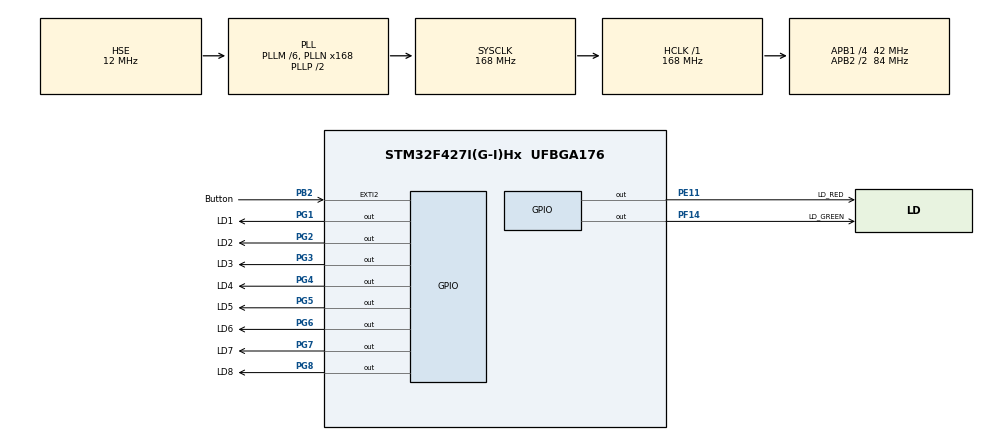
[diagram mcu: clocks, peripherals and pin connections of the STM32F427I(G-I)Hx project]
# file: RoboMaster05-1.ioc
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Mcu.Family=STM32F4
Mcu.Name=STM32F427I(G-I)Hx
Mcu.Package=UFBGA176
NVIC.EXTI2_IRQn=true\:1\:0\:true\:false\:true\:true\:true
NVIC.PriorityGroup=NVIC_PRIORITYGROUP_4
PB2/BOOT1.GPIO_Label=Button
PB2/BOOT1.Signal=GPXTI2
PE11.GPIO_Label=LD_RED
PE11.Signal=GPIO_Output
PF14.GPIO_Label=LD_GREEN
PF14.Signal=GPIO_Output
PG1.GPIO_Label=LD1
PG1.Signal=GPIO_Output
PG2.GPIO_Label=LD2
PG2.Signal=GPIO_Output
PG3.GPIO_Label=LD3
PG3.Signal=GPIO_Output
PG4.GPIO_Label=LD4
PG4.Signal=GPIO_Output
PG5.GPIO_Label=LD5
PG5.Signal=GPIO_Output
PG6.GPIO_Label=LD6
PG6.Signal=GPIO_Output
PG7.GPIO_Label=LD7
PG7.Signal=GPIO_Output
PG8.GPIO_Label=LD8
PG8.Signal=GPIO_Output
PH0/OSC_IN.Mode=HSE-External-Oscillator
PH0/OSC_IN.Signal=RCC_OSC_IN
PH1/OSC_OUT.Mode=HSE-External-Oscillator
PH1/OSC_OUT.Signal=RCC_OSC_OUT
ProjectManager.HeapSize=0x200
ProjectManager.StackSize=0x400
ProjectManager.TargetToolchain=SW4STM32
RCC.48MHZClocksFreq_Value=84000000
RCC.AHBFreq_Value=168000000
RCC.APB1CLKDivider=RCC_HCLK_DIV4
RCC.APB1Freq_Value=42000000
RCC.APB1TimFreq_Value=84000000
RCC.APB2CLKDivider=RCC_HCLK_DIV2
RCC.APB2Freq_Value=84000000
RCC.APB2TimFreq_Value=168000000
RCC.CortexFreq_Value=168000000
RCC.HCLKFreq_Value=168000000
RCC.HSE_VALUE=12000000
RCC.HSI_VALUE=16000000
RCC.LSE_VALUE=32768
RCC.PLLM=6
RCC.PLLN=168
RCC.PLLSourceVirtual=RCC_PLLSOURCE_HSE
RCC.SYSCLKFreq_VALUE=168000000
RCC.SYSCLKSource=RCC_SYSCLKSOURCE_PLLCLK
RCC.VCOOutputFreq_Value=336000000
TIM6.Period=999
TIM6.Prescaler=41999
VP_TIM6_VS_ClockSourceINT.Mode=Enable_Timer
board=custom

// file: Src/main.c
/* USER CODE BEGIN Header */
/**
  ******************************************************************************
  * @file           : main.c
  * @brief          : Main program body
  ******************************************************************************
  * @attention
  *
  * <h2><center>&copy; Copyright (c) 2020 STMicroelectronics.
  * All rights reserved.</center></h2>
  *
  * This software component is licensed by ST under BSD 3-Clause license,
  * the "License"; You may not use this file except in compliance with the
  * License. You may obtain a copy of the License at:
  *                        opensource.org/licenses/BSD-3-Clause
  *
  ******************************************************************************
  */
/* USER CODE END Header */

#include "main.h"

/* USER CODE BEGIN Includes */
#include "stdbool.h"
/* USER CODE END Includes */

TIM_HandleTypeDef htim6;

void SystemClock_Config(void);
static void MX_GPIO_Init(void);
static void MX_TIM6_Init(void);

/* USER CODE BEGIN 0 */
bool flag=false;
/* USER CODE END 0 */

int main(void)
{

  /* MCU Configuration--------------------------------------------------------*/

  /* Reset of all peripherals, Initializes the Flash interface and the Systick. */
  HAL_Init();

  /* Configure the system clock */
  SystemClock_Config();

  /* Initialize all configured peripherals */
  MX_GPIO_Init();
  MX_TIM6_Init();
  /* USER CODE BEGIN 2 */
  HAL_GPIO_WritePin(LD_RED_GPIO_Port,LD_RED_Pin,RESET);
  HAL_GPIO_WritePin(LD_GREEN_GPIO_Port,LD_GREEN_Pin,SET);
  HAL_GPIO_WritePin(LD1_GPIO_Port,LD1_Pin,RESET);
  HAL_GPIO_WritePin(LD2_GPIO_Port,LD2_Pin,SET);
  HAL_GPIO_WritePin(LD3_GPIO_Port,LD3_Pin,RESET);
  HAL_GPIO_WritePin(LD4_GPIO_Port,LD4_Pin,SET);
  HAL_GPIO_WritePin(LD5_GPIO_Port,LD5_Pin,RESET);
  HAL_GPIO_WritePin(LD6_GPIO_Port,LD6_Pin,SET);
  HAL_GPIO_WritePin(LD7_GPIO_Port,LD7_Pin,RESET);
  HAL_GPIO_WritePin(LD8_GPIO_Port,LD8_Pin,SET);
  /* USER CODE END 2 */

  /* Infinite loop */
  while (1)
  {

  }
}

void SystemClock_Config(void)
{
  RCC_OscInitTypeDef RCC_OscInitStruct = {0};
  RCC_ClkInitTypeDef RCC_ClkInitStruct = {0};

  /** Configure the main internal regulator output voltage
  */
  __HAL_RCC_PWR_CLK_ENABLE();
  __HAL_PWR_VOLTAGESCALING_CONFIG(PWR_REGULATOR_VOLTAGE_SCALE1);
  /** Initializes the CPU, AHB and APB busses clocks
  */
  RCC_OscInitStruct.OscillatorType = RCC_OSCILLATORTYPE_HSE;
  RCC_OscInitStruct.HSEState = RCC_HSE_ON;
  RCC_OscInitStruct.PLL.PLLState = RCC_PLL_ON;
  RCC_OscInitStruct.PLL.PLLSource = RCC_PLLSOURCE_HSE;
  RCC_OscInitStruct.PLL.PLLM = 6;
  RCC_OscInitStruct.PLL.PLLN = 168;
  RCC_OscInitStruct.PLL.PLLP = RCC_PLLP_DIV2;
  RCC_OscInitStruct.PLL.PLLQ = 4;
  if (HAL_RCC_OscConfig(&RCC_OscInitStruct) != HAL_OK)
  {
    Error_Handler();
  }
  /** Initializes the CPU, AHB and APB busses clocks
  */
  RCC_ClkInitStruct.ClockType = RCC_CLOCKTYPE_HCLK|RCC_CLOCKTYPE_SYSCLK
                              |RCC_CLOCKTYPE_PCLK1|RCC_CLOCKTYPE_PCLK2;
  RCC_ClkInitStruct.SYSCLKSource = RCC_SYSCLKSOURCE_PLLCLK;
  RCC_ClkInitStruct.AHBCLKDivider = RCC_SYSCLK_DIV1;
  RCC_ClkInitStruct.APB1CLKDivider = RCC_HCLK_DIV4;
  RCC_ClkInitStruct.APB2CLKDivider = RCC_HCLK_DIV2;

  if (HAL_RCC_ClockConfig(&RCC_ClkInitStruct, FLASH_LATENCY_5) != HAL_OK)
  {
    Error_Handler();
  }
}

static void MX_TIM6_Init(void)
{

  TIM_MasterConfigTypeDef sMasterConfig = {0};

  htim6.Instance = TIM6;
  htim6.Init.Prescaler = 41999;
  htim6.Init.CounterMode = TIM_COUNTERMODE_UP;
  htim6.Init.Period = 999;
  htim6.Init.AutoReloadPreload = TIM_AUTORELOAD_PRELOAD_DISABLE;
  if (HAL_TIM_Base_Init(&htim6) != HAL_OK)
  {
    Error_Handler();
  }
  sMasterConfig.MasterOutputTrigger = TIM_TRGO_RESET;
  sMasterConfig.MasterSlaveMode = TIM_MASTERSLAVEMODE_DISABLE;
  if (HAL_TIMEx_MasterConfigSynchronization(&htim6, &sMasterConfig) != HAL_OK)
  {
    Error_Handler();
  }

}

static void MX_GPIO_Init(void)
{
  GPIO_InitTypeDef GPIO_InitStruct = {0};

  /* GPIO Ports Clock Enable */
  __HAL_RCC_GPIOH_CLK_ENABLE();
  __HAL_RCC_GPIOG_CLK_ENABLE();
  __HAL_RCC_GPIOB_CLK_ENABLE();
  __HAL_RCC_GPIOE_CLK_ENABLE();
  __HAL_RCC_GPIOF_CLK_ENABLE();

  /*Configure GPIO pin Output Level */
  HAL_GPIO_WritePin(GPIOG, LD8_Pin|LD7_Pin|LD6_Pin|LD5_Pin
                          |LD4_Pin|LD3_Pin|LD2_Pin|LD1_Pin, GPIO_PIN_RESET);

  /*Configure GPIO pin Output Level */
  HAL_GPIO_WritePin(LD_RED_GPIO_Port, LD_RED_Pin, GPIO_PIN_RESET);

  /*Configure GPIO pin Output Level */
  HAL_GPIO_WritePin(LD_GREEN_GPIO_Port, LD_GREEN_Pin, GPIO_PIN_RESET);

  /*Configure GPIO pins : LD8_Pin LD7_Pin LD6_Pin LD5_Pin
                           LD4_Pin LD3_Pin LD2_Pin LD1_Pin */
  GPIO_InitStruct.Pin = LD8_Pin|LD7_Pin|LD6_Pin|LD5_Pin
                          |LD4_Pin|LD3_Pin|LD2_Pin|LD1_Pin;
  GPIO_InitStruct.Mode = GPIO_MODE_OUTPUT_PP;
  GPIO_InitStruct.Pull = GPIO_NOPULL;
  GPIO_InitStruct.Speed = GPIO_SPEED_FREQ_LOW;
  HAL_GPIO_Init(GPIOG, &GPIO_InitStruct);

  /*Configure GPIO pin : Button_Pin */
  GPIO_InitStruct.Pin = Button_Pin;
  GPIO_InitStruct.Mode = GPIO_MODE_IT_RISING;
  GPIO_InitStruct.Pull = GPIO_NOPULL;
  HAL_GPIO_Init(Button_GPIO_Port, &GPIO_InitStruct);

  /*Configure GPIO pin : LD_RED_Pin */
  GPIO_InitStruct.Pin = LD_RED_Pin;
  GPIO_InitStruct.Mode = GPIO_MODE_OUTPUT_PP;
  GPIO_InitStruct.Pull = GPIO_NOPULL;
  GPIO_InitStruct.Speed = GPIO_SPEED_FREQ_LOW;
  HAL_GPIO_Init(LD_RED_GPIO_Port, &GPIO_InitStruct);

  /*Configure GPIO pin : LD_GREEN_Pin */
  GPIO_InitStruct.Pin = LD_GREEN_Pin;
  GPIO_InitStruct.Mode = GPIO_MODE_OUTPUT_PP;
  GPIO_InitStruct.Pull = GPIO_NOPULL;
  GPIO_InitStruct.Speed = GPIO_SPEED_FREQ_LOW;
  HAL_GPIO_Init(LD_GREEN_GPIO_Port, &GPIO_InitStruct);

  /* EXTI interrupt init*/
  HAL_NVIC_SetPriority(EXTI2_IRQn, 1, 0);
  HAL_NVIC_EnableIRQ(EXTI2_IRQn);

}

/* USER CODE BEGIN 4 */
void HAL_GPIO_EXTI_Callback(uint16_t GPIO_Pin) {
	if(GPIO_Pin == Button_Pin){
		flag=!flag;
		if(flag){
			HAL_TIM_Base_Start_IT(&htim6);
		}else{
			HAL_TIM_Base_Stop_IT(&htim6);
		}
	}
}

void HAL_TIM_PeriodElapsedCallback(TIM_HandleTypeDef *htim) {
	if(htim->Instance == TIM6){
		HAL_GPIO_TogglePin(LD_RED_GPIO_Port,LD_RED_Pin);
		HAL_GPIO_TogglePin(LD_GREEN_GPIO_Port,LD_GREEN_Pin);
		HAL_GPIO_TogglePin(LD1_GPIO_Port,LD1_Pin);
		HAL_GPIO_TogglePin(LD2_GPIO_Port,LD2_Pin);
		HAL_GPIO_TogglePin(LD3_GPIO_Port,LD3_Pin);
		HAL_GPIO_TogglePin(LD4_GPIO_Port,LD4_Pin);
		HAL_GPIO_TogglePin(LD5_GPIO_Port,LD5_Pin);
		HAL_GPIO_TogglePin(LD6_GPIO_Port,LD6_Pin);
		HAL_GPIO_TogglePin(LD7_GPIO_Port,LD7_Pin);
		HAL_GPIO_TogglePin(LD8_GPIO_Port,LD8_Pin);
	}
}
/* USER CODE END 4 */

void Error_Handler(void)
{
}

/************************ (C) COPYRIGHT STMicroelectronics *****END OF FILE****/
